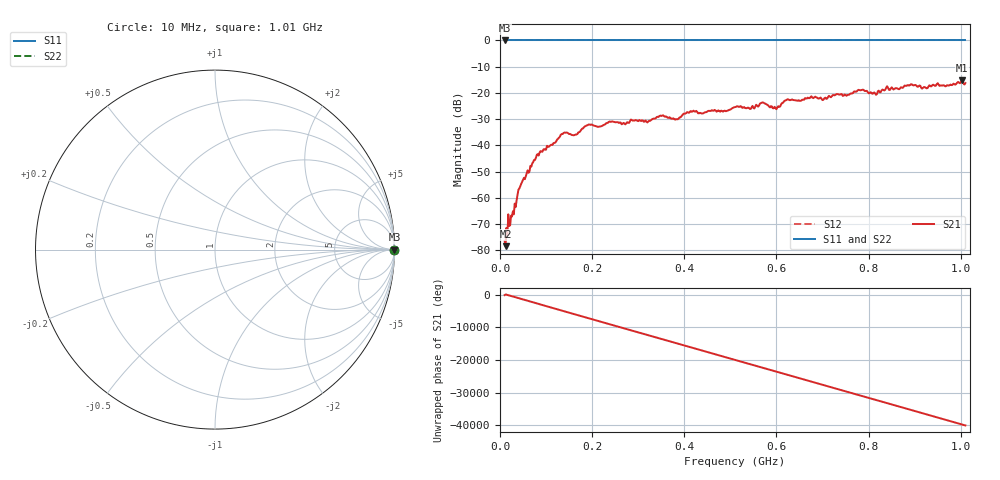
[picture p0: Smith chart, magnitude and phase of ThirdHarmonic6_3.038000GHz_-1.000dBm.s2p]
! 8/17/2025 8:47:29 AM
! C:\ANRITSUVNA\TEMP\TEMP.S2P
! CHANNEL.1
! TR.MEASUREMENT
! RAW.DATA
! RF.CORRECTION.OFF
! AVERAGING.OFF
! IF.BANDWIDTH: 5KHZ
! SWEEPTYPE:  FREQ.SWEEP(Linear)
! Reference Plane Port Info
! PORT:  PORT1  PORT2
! DISTANCE:  0  m  0  m
! TIME:  0  s  0  s
! PHASE.OFFSET:  0  deg.  0  deg.
! LOSS:  0  dB  0  dB
! REF.LOSS:  0  dB  0  dB
! REF.FREQ:  0  Hz  0  Hz
! Power Info
! POWER:  -20  dBm  -20  dBm
! EFF.POWER:  -20  dBm  -20  dBm
! SOURCE.ATTEN:  0  dB  0  dB
! TEST.ATTEN:  0  dB  0  dB
# GHZ S RI R 50.0
! FREQ.GHZ  S11RE  S11IM  S21RE  S21IM  S12RE  S12IM  S22RE  S22IM
!; PortSelection: Port_12
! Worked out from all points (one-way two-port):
!   501 points, 10 MHz to 1.01 GHz, reference 50 ohm
!   highest |S21| = -15.14 dB at 1.002 GHz (marker M1); lowest = -78.4 dB at 12 MHz (marker M2)
!   lowest |S11| = 0.0 dB at 10 MHz (marker M3)
!   |S11| at or under -10 dB: nowhere
!   |S22| runs from 0.0 to 0.0 dB; largest |S21 - S12| = 1.2
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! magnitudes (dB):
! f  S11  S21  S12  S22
! 10 MHz  0.0  -76.4  0.0  0.0
! 12 MHz  0.0  -78.4  0.0  0.0
! 44 MHz  0.0  -55.5  0.0  0.0
! 78 MHz  0.0  -44.7  0.0  0.0
! 136 MHz  0.0  -35.6  0.0  0.0
! 162 MHz  0.0  -36.0  0.0  0.0
! 178 MHz  0.0  -33.6  0.0  0.0
! 344 MHz  0.0  -29.1  0.0  0.0
! 382 MHz  0.0  -30.0  0.0  0.0
! 416 MHz  0.0  -27.1  0.0  0.0
! 510 MHz  0.0  -25.4  0.0  0.0
! 548 MHz  0.0  -24.9  0.0  0.0
! 570 MHz  0.0  -23.6  0.0  0.0
! 596 MHz  0.0  -25.3  0.0  0.0
! 622 MHz  0.0  -22.6  0.0  0.0
! 678 MHz  0.0  -21.8  0.0  0.0
! 704 MHz  0.0  -22.0  0.0  0.0
! 782 MHz  0.0  -19.0  0.0  0.0
! 814 MHz  0.0  -20.1  0.0  0.0
! 844 MHz  0.0  -18.8  0.0  0.0
! 1.002 GHz  0.0  -15.1  0.0  0.0
! 1.01 GHz  0.0  -16.2  0.0  0.0
